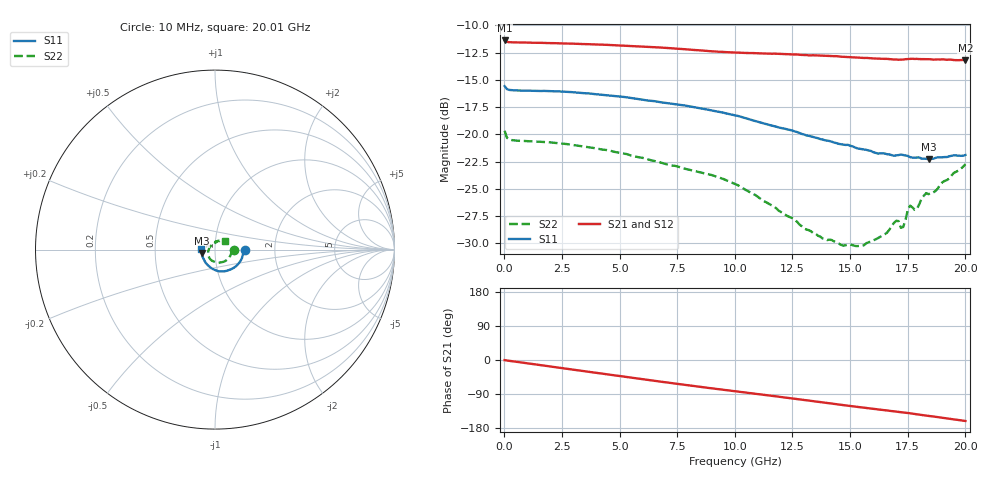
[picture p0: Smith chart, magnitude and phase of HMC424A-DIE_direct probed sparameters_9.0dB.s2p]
!s2p File: Measurements: S11, S21, S12, S22
# GHz S dB R 50.0
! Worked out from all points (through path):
!   201 points, 10 MHz to 20.01 GHz, reference 50 ohm
!   highest |S21| = -11.39 dB at 10 MHz (marker M1); lowest = -13.2 dB at 20.01 GHz (marker M2)
!   group delay of S21, straight-line fit = 22 ps
!   lowest |S11| = -22.3 dB at 18.41 GHz (marker M3), VSWR 1.17, Z = 43.1 - j1.81 ohm
!   |S11| at or under -10 dB: start of sweep to end of sweep
!   |S22| runs from -30.3 to -19.7 dB; largest |S21 - S12| = 0.0019
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0.01  -15.58 -0.8  -11.39 -0.4  -11.39 -0.4  -19.67 -1.8
0.11  -15.85 -1.9  -11.52 -1.4  -11.51 -1.4  -20.32 -3.7
0.31  -15.95 -2.9  -11.56 -3.0  -11.56 -2.9  -20.53 -4.9
3.41  -16.22 -25.8  -11.72 -29.1  -11.71 -29.1  -21.11 -39.1
6.71  -17.04 -51.8  -12.03 -56.5  -12.03 -56.5  -22.55 -75.5
10.01  -18.26 -80.4  -12.49 -82.3  -12.50 -82.2  -24.55 -117.4
13.41  -20.25 -111.9  -12.75 -108.7  -12.77 -108.6  -29.09 -179.1
14.71  -20.95 -125.1  -12.89 -118.9  -12.88 -118.8  -30.22 148.6
15.51  -21.37 -132.8  -12.99 -125.2  -12.97 -125.0  -30.26 126.6
16.71  -21.85 -146.3  -13.10 -134.2  -13.09 -134.2  -28.76 100.3
17.01  -21.93 -148.6  -13.14 -136.4  -13.09 -136.4  -27.94 90.8
17.11  -21.91 -149.7  -13.16 -137.1  -13.10 -137.1  -27.97 86.4
17.21  -21.86 -151.0  -13.15 -137.8  -13.11 -137.9  -28.59 84.8
17.31  -21.90 -152.3  -13.14 -138.4  -13.13 -138.7  -28.51 87.3
17.51  -21.99 -154.6  -13.10 -140.0  -13.12 -140.3  -26.92 86.2
17.61  -22.10 -155.4  -13.08 -140.6  -13.12 -141.0  -26.55 80.9
17.91  -22.14 -157.8  -13.08 -143.4  -13.12 -143.3  -26.85 75.3
18.11  -22.24 -160.6  -13.10 -145.1  -13.14 -144.8  -25.89 72.8
18.31  -22.25 -163.1  -13.09 -146.7  -13.13 -146.6  -25.40 66.7
18.41  -22.29 -164.2  -13.11 -147.5  -13.14 -147.4  -25.50 63.8
18.71  -22.17 -166.8  -13.14 -149.9  -13.14 -149.7  -25.21 60.9
20.01  -21.90 178.2  -13.22 -160.9  -13.20 -160.8  -22.75 42.5
